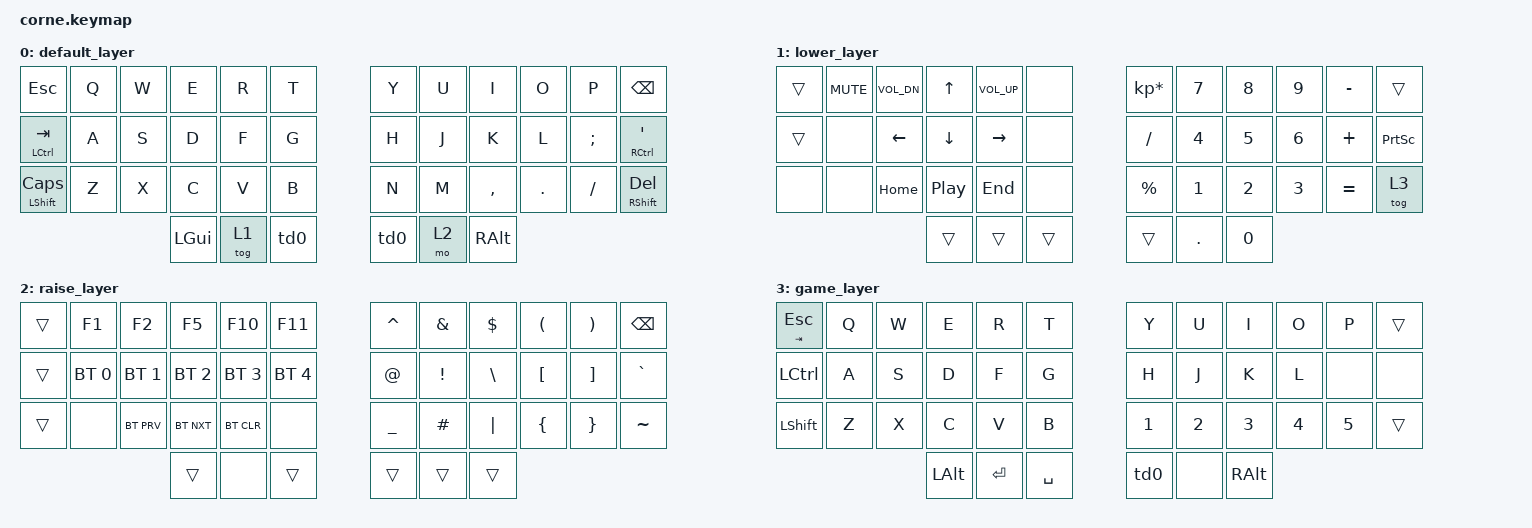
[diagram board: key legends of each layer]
/*
 * Copyright (c) 2020 The ZMK Contributors
 *
 * SPDX-License-Identifier: MIT
 */

#include <behaviors.dtsi> 
#include <dt-bindings/zmk/keys.h>
#include <dt-bindings/zmk/bt.h>
#include <dt-bindings/zmk/outputs.h>

/ {
    behaviors {
        td0: tap_dance_0 {
            compatible = "zmk,behavior-tap-dance";
            label = "TAP_DANCE_0";
            #binding-cells = <0>;
            tapping-term-ms = <200>;
            bindings = <&kp SPACE>, <&kp RET>;
        };
    };


        keymap {
                compatible = "zmk,keymap";

                default_layer {
// -----------------------------------------------------------------------------------------
// |  ESC |  Q  |  W  |  E  |  R  |  T  |   |  Y  |  U   |  I  |  O  |  P  |BSPC |
// | CTRL |  A  |  S  |  D  |  F  |  G  |   |  H  |  J   |  K  |  L  |  ;  |  '  |
// | td0  |  Z  |  X  |  C  |  V  |  B  |   |  N  |  M   |  ,  |  .  |  /  | td0 |
//                    | GUI | LWR | td3 |   | td3 | RSE  | ALT |
                        bindings = <
   &kp ESC        &kp Q &kp W &kp E    &kp R  &kp T        &kp Y &kp U  &kp I     &kp O   &kp P    &kp BSPC
   &mt LCTRL TAB  &kp A &kp S &kp D    &kp F  &kp G        &kp H &kp J  &kp K     &kp L   &kp SEMI &mt RCTRL SQT
   &mt LSHFT CLCK &kp Z &kp X &kp C    &kp V  &kp B        &kp N &kp M  &kp COMMA &kp DOT &kp FSLH &mt RSHFT DEL
                              &kp LGUI &tog 1 &td0         &td0  &mo 2  &kp RALT
                        >;
                };
                lower_layer {
// -----------------------------------------------------------------------------------------
// |  ^  |     |       |  UP   |       |     |   |  *  |  7  |  8  |  9  |  -  |BSPC |
// |  ^  |     |  LFT  |  DWN  |  RGT  |     |   |  /  |  4  |  5  |  6  |  +  |PSCRN|
// |     |     |  HOME |       |  END  |     |   |  %  |  1  |  2  |  3  |  =  |game |
//                     |   ^   |   ^   |  ^  |   |  ^  |  .  |  0  |
                        bindings = <
   &trans &kp C_MUTE &kp C_VOL_DN &kp UP   &kp C_VOL_UP &none        &kp KP_MULTIPLY &kp N7    &kp N8    &kp N9    &kp MINUS &trans
   &trans &none      &kp LEFT     &kp DOWN &kp RIGHT    &none        &kp FSLH        &kp N4    &kp N5    &kp N6    &kp PLUS  &kp PSCRN
   &none  &none      &kp HOME     &kp C_PP &kp END      &none        &kp PRCNT       &kp N1    &kp N2    &kp N3    &kp EQUAL &tog 3 
                                  &trans   &trans       &trans       &trans          &kp DOT   &kp N0
                        >;
                };
                raise_layer {
// -----------------------------------------------------------------------------------------
// |  ^   |  F1  |  F2  |  F5  |  F10 |  F11 |   | "^" |  &  |  $  |  (  |  )  | BKSP |
// |  ^   | BT_1 | BT_2 | BT_3 | BT_4 | BT_5 |   |  @  |  !  |  \  |  [  |  ]  |  `   |
// |  ^   |      |BT_PRV|BT_NXT|BT_CLR|      |   |  _  |  #  | "|" |  {  |  }  |  ~   |
//                      |  GUI |      | SPC  |   | ENT |     | ALT |
                        bindings = <
   &trans &kp F1       &kp F2       &kp F5       &kp F10      &kp F11           &kp CARET &kp AMPS  &kp DLLR &kp LPAR &kp RPAR &kp BSPC
   &trans &bt BT_SEL 0 &bt BT_SEL 1 &bt BT_SEL 2 &bt BT_SEL 3 &bt BT_SEL 4      &kp AT    &kp EXCL  &kp BSLH &kp LBKT &kp RBKT &kp GRAVE
   &trans &none        &bt BT_PRV   &bt BT_NXT   &bt BT_CLR	  &none             &kp UNDER &kp HASH  &kp PIPE &kp LBRC &kp RBRC &kp TILDE
                                    &trans       &none        &trans            &trans    &trans    &trans
                        >;
                };
                game_layer {
// -----------------------------------------------------------------------------------------
// |  ESC |  Q  |  W  |  E  |  R  |  T  |   |  Y  |  U  |  I  |  O  |  P  | ^ |
// | CTRL |  A  |  S  |  D  |  F  |  G  |   |  H  |  J  |  K  |  L  |     |    |
// | td0  |  Z  |  X  |  C  |  V  |  B  |   |  1  |  2  |  3  |  4  |  5  |  |
//                    | ALT | ENT | SPC |   | td3 | RSE | ALT |
                        bindings = <
   &mt TAB ESC    &kp Q &kp W &kp E    &kp R      &kp T           &kp Y  &kp U  &kp I    &kp O   &kp P    &trans
   &kp LCTRL      &kp A &kp S &kp D    &kp F      &kp G           &kp H  &kp J  &kp K    &kp L   &none    &none
   &kp LSHFT      &kp Z &kp X &kp C    &kp V      &kp B           &kp N1 &kp N2 &kp N3   &kp N4  &kp N5   &trans
                              &kp LALT &kp ENTER  &kp SPACE       &td0   &none  &kp RALT
                        >;
                };
        };
};
